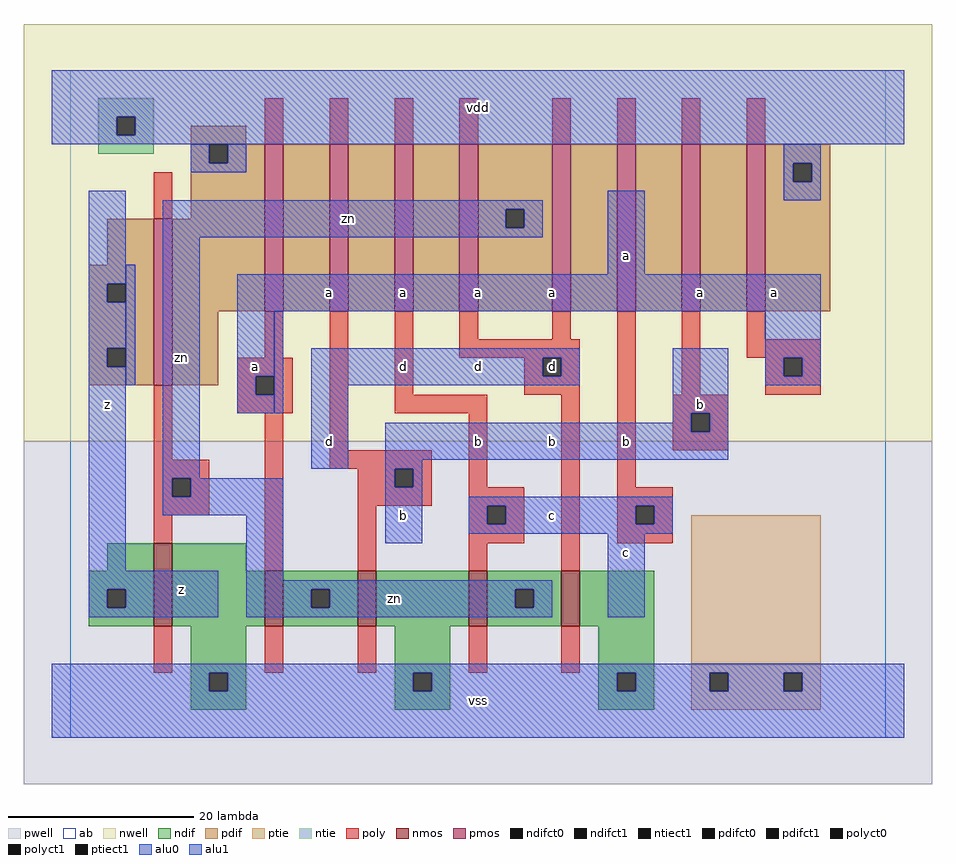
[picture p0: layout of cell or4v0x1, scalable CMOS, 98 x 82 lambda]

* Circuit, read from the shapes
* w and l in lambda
.subckt or4v0x1 a b c d vdd vss z zn
M1 vss zn z vss nfet w=9 l=2
M2 zn a vss vss nfet w=6 l=2
M3 vss b zn vss nfet w=6 l=2
M4 zn c vss vss nfet w=6 l=2
M5 vss d zn vss nfet w=6 l=2
M6 vdd zn z vdd pfet w=18 l=2
M7 n1 a vdd vdd pfet w=18 l=2
M8 n2 b n1 vdd pfet w=18 l=2
M9 n3 c n2 vdd pfet w=18 l=2
M10 zn d n3 vdd pfet w=18 l=2
M11 n4 d zn vdd pfet w=18 l=2
M12 n5 c n4 vdd pfet w=18 l=2
M13 n6 b n5 vdd pfet w=18 l=2
M14 vdd a n6 vdd pfet w=18 l=2
.ends

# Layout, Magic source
magic
tech scmos
<< ab >>
rect 0 0 88 72
<< nwell >>
rect -5 32 93 77
<< pwell >>
rect -5 -5 93 32
<< poly >>
rect 21 64 23 69
rect 28 64 30 69
rect 35 64 37 69
rect 42 64 44 69
rect 52 64 54 69
rect 59 64 61 69
rect 66 64 68 69
rect 73 64 75 69
rect 9 56 11 61
rect 21 41 23 46
rect 18 39 24 41
rect 9 30 11 38
rect 18 37 20 39
rect 22 37 24 39
rect 18 35 24 37
rect 9 28 15 30
rect 9 26 11 28
rect 13 26 15 28
rect 9 24 15 26
rect 9 21 11 24
rect 21 18 23 35
rect 28 31 30 46
rect 35 37 37 46
rect 42 43 44 46
rect 52 43 54 46
rect 42 41 55 43
rect 49 39 51 41
rect 53 39 55 41
rect 49 37 55 39
rect 35 35 45 37
rect 28 29 39 31
rect 31 27 35 29
rect 37 27 39 29
rect 31 25 39 27
rect 43 27 45 35
rect 43 25 49 27
rect 31 18 33 25
rect 43 23 45 25
rect 47 23 49 25
rect 43 21 49 23
rect 43 18 45 21
rect 53 18 55 37
rect 59 27 61 46
rect 66 37 68 46
rect 73 43 75 46
rect 73 41 81 43
rect 75 39 77 41
rect 79 39 81 41
rect 75 37 81 39
rect 65 35 71 37
rect 65 33 67 35
rect 69 33 71 35
rect 65 31 71 33
rect 59 25 65 27
rect 59 23 61 25
rect 63 23 65 25
rect 59 21 65 23
rect 9 7 11 12
rect 21 7 23 12
rect 31 7 33 12
rect 43 7 45 12
rect 53 7 55 12
<< ndif >>
rect 4 18 9 21
rect 2 16 9 18
rect 2 14 4 16
rect 6 14 9 16
rect 2 12 9 14
rect 11 18 19 21
rect 11 12 21 18
rect 23 16 31 18
rect 23 14 26 16
rect 28 14 31 16
rect 23 12 31 14
rect 33 12 43 18
rect 45 16 53 18
rect 45 14 48 16
rect 50 14 53 16
rect 45 12 53 14
rect 55 12 63 18
rect 13 7 19 12
rect 35 7 41 12
rect 57 7 63 12
rect 13 5 15 7
rect 17 5 19 7
rect 13 3 19 5
rect 35 5 37 7
rect 39 5 41 7
rect 35 3 41 5
rect 57 5 59 7
rect 61 5 63 7
rect 57 3 63 5
<< pdif >>
rect 13 64 19 66
rect 13 62 15 64
rect 17 62 21 64
rect 13 56 21 62
rect 4 51 9 56
rect 2 49 9 51
rect 2 47 4 49
rect 6 47 9 49
rect 2 42 9 47
rect 2 40 4 42
rect 6 40 9 42
rect 2 38 9 40
rect 11 46 21 56
rect 23 46 28 64
rect 30 46 35 64
rect 37 46 42 64
rect 44 57 52 64
rect 44 55 47 57
rect 49 55 52 57
rect 44 46 52 55
rect 54 46 59 64
rect 61 46 66 64
rect 68 46 73 64
rect 75 62 82 64
rect 75 60 78 62
rect 80 60 82 62
rect 75 46 82 60
rect 11 38 16 46
<< alu1 >>
rect -2 67 90 72
rect -2 65 5 67
rect 7 65 90 67
rect -2 64 90 65
rect 2 49 6 59
rect 2 47 4 49
rect 2 42 6 47
rect 2 40 4 42
rect 2 18 6 40
rect 58 50 62 59
rect 18 46 81 50
rect 18 39 22 46
rect 18 37 20 39
rect 18 35 22 37
rect 26 41 55 42
rect 26 39 51 41
rect 53 39 55 41
rect 26 38 55 39
rect 26 29 30 38
rect 65 35 71 42
rect 75 41 81 46
rect 75 39 77 41
rect 79 39 81 41
rect 75 38 81 39
rect 65 34 67 35
rect 34 33 67 34
rect 69 33 71 35
rect 34 30 71 33
rect 34 29 38 30
rect 2 16 16 18
rect 2 14 4 16
rect 6 14 16 16
rect 2 13 16 14
rect 34 27 35 29
rect 37 27 38 29
rect 34 21 38 27
rect 43 25 65 26
rect 43 23 45 25
rect 47 23 61 25
rect 63 23 65 25
rect 43 22 65 23
rect 58 13 62 22
rect -2 7 90 8
rect -2 5 15 7
rect 17 5 37 7
rect 39 5 59 7
rect 61 5 69 7
rect 71 5 77 7
rect 79 5 90 7
rect -2 0 90 5
<< ptie >>
rect 67 7 81 24
rect 67 5 69 7
rect 71 5 77 7
rect 79 5 81 7
rect 67 3 81 5
<< ntie >>
rect 3 67 9 69
rect 3 65 5 67
rect 7 65 9 67
rect 3 63 9 65
<< nmos >>
rect 9 12 11 21
rect 21 12 23 18
rect 31 12 33 18
rect 43 12 45 18
rect 53 12 55 18
<< pmos >>
rect 9 38 11 56
rect 21 46 23 64
rect 28 46 30 64
rect 35 46 37 64
rect 42 46 44 64
rect 52 46 54 64
rect 59 46 61 64
rect 66 46 68 64
rect 73 46 75 64
<< polyct0 >>
rect 11 26 13 28
<< polyct1 >>
rect 20 37 22 39
rect 51 39 53 41
rect 35 27 37 29
rect 45 23 47 25
rect 77 39 79 41
rect 67 33 69 35
rect 61 23 63 25
<< ndifct0 >>
rect 26 14 28 16
rect 48 14 50 16
<< ndifct1 >>
rect 4 14 6 16
rect 15 5 17 7
rect 37 5 39 7
rect 59 5 61 7
<< ntiect1 >>
rect 5 65 7 67
<< ptiect1 >>
rect 69 5 71 7
rect 77 5 79 7
<< pdifct0 >>
rect 15 62 17 64
rect 47 55 49 57
rect 78 60 80 62
<< pdifct1 >>
rect 4 47 6 49
rect 4 40 6 42
<< alu0 >>
rect 13 62 15 64
rect 17 62 19 64
rect 13 61 19 62
rect 77 62 81 64
rect 77 60 78 62
rect 80 60 81 62
rect 10 57 51 58
rect 10 55 47 57
rect 49 55 51 57
rect 10 54 51 55
rect 6 38 7 51
rect 10 28 14 54
rect 77 58 81 60
rect 22 35 23 46
rect 10 26 11 28
rect 13 26 23 28
rect 10 24 23 26
rect 19 17 23 24
rect 19 16 52 17
rect 19 14 26 16
rect 28 14 48 16
rect 50 14 52 16
rect 19 13 52 14
<< labels >>
rlabel alu0 12 41 12 41 6 zn
rlabel alu0 35 15 35 15 6 zn
rlabel alu0 30 56 30 56 6 zn
rlabel alu1 12 16 12 16 6 z
rlabel alu1 4 36 4 36 6 z
rlabel alu1 36 24 36 24 6 b
rlabel alu1 28 32 28 32 6 d
rlabel alu1 36 40 36 40 6 d
rlabel alu1 20 40 20 40 6 a
rlabel alu1 36 48 36 48 6 a
rlabel alu1 28 48 28 48 6 a
rlabel alu1 44 4 44 4 6 vss
rlabel alu1 60 20 60 20 6 c
rlabel alu1 44 32 44 32 6 b
rlabel alu1 52 32 52 32 6 b
rlabel alu1 60 32 60 32 6 b
rlabel alu1 52 24 52 24 6 c
rlabel polyct1 52 40 52 40 6 d
rlabel alu1 44 40 44 40 6 d
rlabel alu1 44 48 44 48 6 a
rlabel alu1 60 52 60 52 6 a
rlabel alu1 52 48 52 48 6 a
rlabel alu1 44 68 44 68 6 vdd
rlabel alu1 68 36 68 36 6 b
rlabel alu1 68 48 68 48 6 a
rlabel alu1 76 48 76 48 6 a
<< end >>
